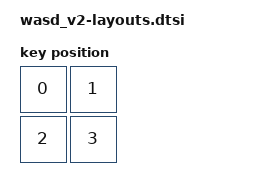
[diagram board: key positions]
#include <physical_layouts.dtsi>

/ {
    physical_layout0: physical_layout_0 {
        compatible = "zmk,physical-layout";
        display-name = "Default";

        kscan = <&kscan0>;
        transform = <&matrix_transform0>;

        keys  //                     w   h     x     y     rot    rx    ry
            = <&key_physical_attrs  100 100    0     0       0     0     0>
            , <&key_physical_attrs  100 100  100     0       0     0     0>
            , <&key_physical_attrs  100 100    0   100       0     0     0>
            , <&key_physical_attrs  100 100  100   100       0     0     0>
            ;
    };
};
